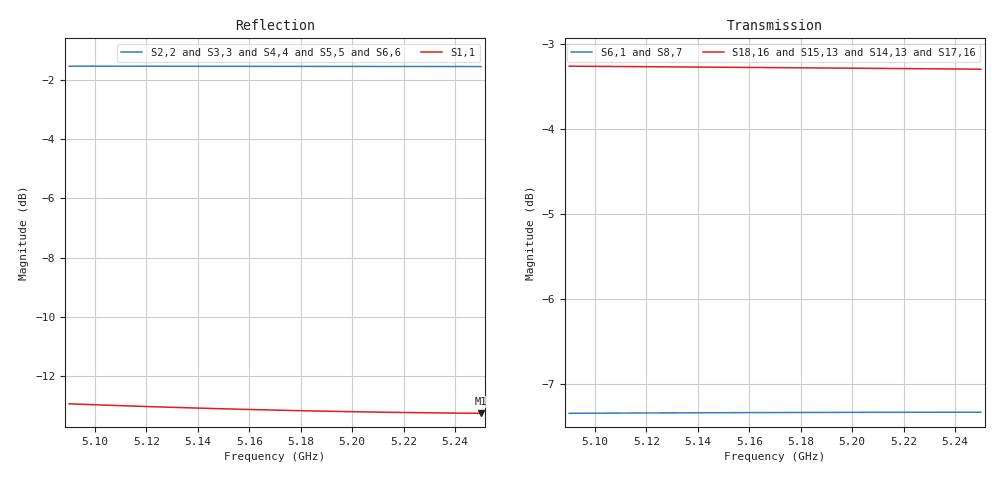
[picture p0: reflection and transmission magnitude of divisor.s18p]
! Touchstone file exported from HFSS 2024.2.0
!  File:  D:/dev/EMBRAER/P1H/R06_sem_cabos/divisor_inferior/Divisor_inferior.aedt
!  Generated:  05:53:04 PM Nov  7, 2026
!  Design:  Divisor_completo
!  Project:  Divisor_inferior
!  Setup:  Centro
!  Solution:  Banda
# GHz S RI R 50.000000
! Terminal data exported
! Port[1] = A_IN
! Port[2] = A1
! Port[3] = A2
! Port[4] = A3
! Port[5] = A4
! Port[6] = A5
! Port[7] = B_IN
! Port[8] = B1
! Port[9] = B2
! Port[10] = B3
! Port[11] = B4
! Port[12] = B5
! Port[13] = RA_IN
! Port[14] = RA1
! Port[15] = RA2
! Port[16] = RB_IN
! Port[17] = RB1
! Port[18] = RB2
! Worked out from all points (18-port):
!   17 points, 5.09 GHz to 5.25 GHz, reference 50 ohm
!   strongest paths, dB at 5.09 GHz, 5.13 GHz, 5.17 GHz, 5.21 GHz, 5.25 GHz:
!     S18,16: -3.3, -3.3, -3.3, -3.3, -3.3
!     S15,13: -3.3, -3.3, -3.3, -3.3, -3.3
!     S14,13: -3.3, -3.3, -3.3, -3.3, -3.3
!     S17,16: -3.3, -3.3, -3.3, -3.3, -3.3
!     S6,1: -7.3, -7.3, -7.3, -7.3, -7.3
!     S8,7: -7.3, -7.3, -7.3, -7.3, -7.3
!   lowest |S11| = -13.3 dB at 5.25 GHz (marker M1), VSWR 1.56, Z = 70.6 - j16.6 ohm
!   |S11| at or under -10 dB: start of sweep to end of sweep
